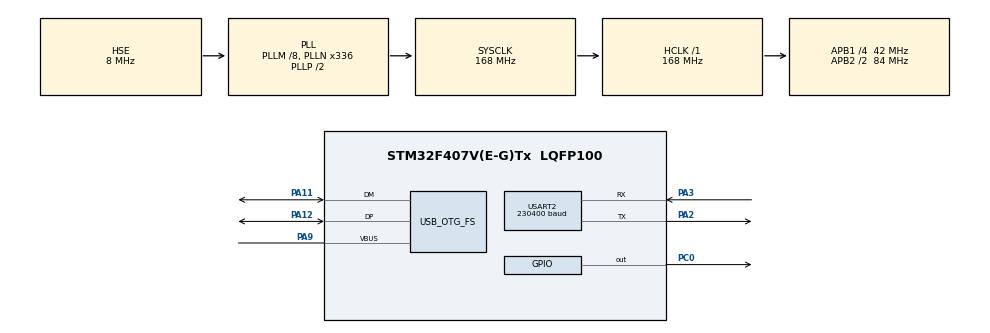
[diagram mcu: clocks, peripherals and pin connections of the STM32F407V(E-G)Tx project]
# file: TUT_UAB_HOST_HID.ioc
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Mcu.Family=STM32F4
PH0-OSC_IN.Signal=RCC_OSC_IN
RCC.CortexFreq_Value=168000000
USB_HOST0.BSP.solution=PC0
USB_HOST.BSP.number=1
PA11.Mode=Host_Only
PC0.Signal=GPIO_Output
RCC.APB1CLKDivider=RCC_HCLK_DIV4
VP_USB_HOST_VS_USB_HOST_HID_FS.Mode=HID_FS
USART2.BaudRate=230400
RCC.SYSCLKSource=RCC_SYSCLKSOURCE_PLLCLK
ProjectManager.StackSize=0x400
USB_HOST0.BSP.STBoard=false
PA3.Mode=Asynchronous
PA9.Mode=Activate_VBUS
PA12.Signal=USB_OTG_FS_DP
ProjectManager.TargetToolchain=STM32CubeIDE
RCC.HCLKFreq_Value=168000000
RCC.APB2TimFreq_Value=168000000
PA9.Signal=USB_OTG_FS_VBUS
USB_HOST0.BSP.ip=GPIO
RCC.LSE_VALUE=32768
RCC.AHBFreq_Value=168000000
PH0-OSC_IN.Mode=HSE-External-Oscillator
RCC.HSE_VALUE=8000000
USB_OTG_FS.phy_itface=HCD_PHY_EMBEDDED
board=STM32F407G-DISC1
RCC.VCOOutputFreq_Value=336000000
USB_HOST.VirtualModeFS=Hid
RCC.APB2Freq_Value=84000000
USB_HOST0.BSP.api=Unknown
USB_HOST.USBH_HandleTypeDef-HID_FS=hUsbHostFS
PH1-OSC_OUT.Signal=RCC_OSC_OUT
USB_HOST0.BSP.i2creg=0
Mcu.Name=STM32F407V(E-G)Tx
PA2.Signal=USART2_TX
PH1-OSC_OUT.Mode=HSE-External-Oscillator
RCC.48MHZClocksFreq_Value=48000000
USB_HOST0.BSP.i2caddr=0
RCC.SYSCLKFreq_VALUE=168000000
Mcu.Package=LQFP100
PA12.Mode=Host_Only
USART2.VirtualMode=VM_ASYNC
NVIC.OTG_FS_IRQn=true\:0\:0\:false\:false\:true\:true\:true
PA11.Signal=USB_OTG_FS_DM
USB_OTG_FS.VirtualMode=Host_Only
ProjectManager.HeapSize=0x200
RCC.HSI_VALUE=16000000
RCC.PLLQ=7
NVIC.PriorityGroup=NVIC_PRIORITYGROUP_0
USB_HOST0.BSP.name=Drive_VBUS_FS
RCC.APB2CLKDivider=RCC_HCLK_DIV2
RCC.PLLM=8
RCC.PLLN=336
RCC.APB1TimFreq_Value=84000000
PA2.Mode=Asynchronous
RCC.APB1Freq_Value=42000000
USB_HOST0.BSP.mode=Output
PA3.Signal=USART2_RX
USB_HOST0.BSP.instance=PC0

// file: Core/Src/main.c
/* USER CODE BEGIN Header */
/**
  ******************************************************************************
  * @file           : main.c
  * @brief          : Main program body
  ******************************************************************************
  * @attention
  *
  * <h2><center>&copy; Copyright (c) 2020 STMicroelectronics.
  * All rights reserved.</center></h2>
  *
  * This software component is licensed by ST under Ultimate Liberty license
  * SLA0044, the "License"; You may not use this file except in compliance with
  * the License. You may obtain a copy of the License at:
  *                             www.st.com/SLA0044
  *
  ******************************************************************************
  */
/* USER CODE END Header */

#include "main.h"
#include "usb_host.h"

/* USER CODE BEGIN Includes */
#include "usbh_hid.h"
#include "stdio.h"
/* USER CODE END Includes */

UART_HandleTypeDef huart2;

void SystemClock_Config(void);
static void MX_GPIO_Init(void);
static void MX_USART2_UART_Init(void);
void MX_USB_HOST_Process(void);

/* USER CODE BEGIN 0 */

char Uart_Buf[100];

void USBH_HID_EventCallback(USBH_HandleTypeDef *phost)
{
	if (USBH_HID_GetDeviceType(phost) == HID_MOUSE)
	{
		HID_MOUSE_Info_TypeDef *Mouse_Info;
		Mouse_Info = USBH_HID_GetMouseInfo(phost);
		int X_VAL = Mouse_Info->x;
		int Y_VAL = Mouse_Info->y;
		if (X_VAL > 127) X_VAL -= 255;
		if (Y_VAL > 127) Y_VAL -= 255;

		int len = sprintf (Uart_Buf, "X=%d, Y=%d, Button1=%d, Button2=%d, Button3=%d\n", X_VAL, Y_VAL, \
				                                Mouse_Info->buttons[0],Mouse_Info->buttons[1], Mouse_Info->buttons[2]);
		HAL_UART_Transmit(&huart2, (uint8_t *)Uart_Buf, len, 1000);
	}

	if (USBH_HID_GetDeviceType(phost) == HID_KEYBOARD)
	{
		HID_KEYBD_Info_TypeDef *Keyboard_Info;
		Keyboard_Info = USBH_HID_GetKeybdInfo(phost);
		char key = USBH_HID_GetASCIICode (Keyboard_Info);

		int len = sprintf (Uart_Buf, "Key Pressed = %c\n", key);
		HAL_UART_Transmit(&huart2, (uint8_t *)Uart_Buf, len, 1000);
	}
}

/* USER CODE END 0 */

int main(void)
{

  /* MCU Configuration--------------------------------------------------------*/

  /* Reset of all peripherals, Initializes the Flash interface and the Systick. */
  HAL_Init();

  /* Configure the system clock */
  SystemClock_Config();

  /* Initialize all configured peripherals */
  MX_GPIO_Init();
  MX_USB_HOST_Init();
  MX_USART2_UART_Init();

  /* Infinite loop */
  /* USER CODE BEGIN WHILE */
    //char Test_Uart_Buf[100];
    // len;
    while (1)
    {
    /* USER CODE END WHILE */
    MX_USB_HOST_Process();

  }
}

void SystemClock_Config(void)
{
  RCC_OscInitTypeDef RCC_OscInitStruct = {0};
  RCC_ClkInitTypeDef RCC_ClkInitStruct = {0};

  /** Configure the main internal regulator output voltage
  */
  __HAL_RCC_PWR_CLK_ENABLE();
  __HAL_PWR_VOLTAGESCALING_CONFIG(PWR_REGULATOR_VOLTAGE_SCALE1);
  /** Initializes the CPU, AHB and APB busses clocks
  */
  RCC_OscInitStruct.OscillatorType = RCC_OSCILLATORTYPE_HSE;
  RCC_OscInitStruct.HSEState = RCC_HSE_ON;
  RCC_OscInitStruct.PLL.PLLState = RCC_PLL_ON;
  RCC_OscInitStruct.PLL.PLLSource = RCC_PLLSOURCE_HSE;
  RCC_OscInitStruct.PLL.PLLM = 8;
  RCC_OscInitStruct.PLL.PLLN = 336;
  RCC_OscInitStruct.PLL.PLLP = RCC_PLLP_DIV2;
  RCC_OscInitStruct.PLL.PLLQ = 7;
  if (HAL_RCC_OscConfig(&RCC_OscInitStruct) != HAL_OK)
  {
    Error_Handler();
  }
  /** Initializes the CPU, AHB and APB busses clocks
  */
  RCC_ClkInitStruct.ClockType = RCC_CLOCKTYPE_HCLK|RCC_CLOCKTYPE_SYSCLK
                              |RCC_CLOCKTYPE_PCLK1|RCC_CLOCKTYPE_PCLK2;
  RCC_ClkInitStruct.SYSCLKSource = RCC_SYSCLKSOURCE_PLLCLK;
  RCC_ClkInitStruct.AHBCLKDivider = RCC_SYSCLK_DIV1;
  RCC_ClkInitStruct.APB1CLKDivider = RCC_HCLK_DIV4;
  RCC_ClkInitStruct.APB2CLKDivider = RCC_HCLK_DIV2;

  if (HAL_RCC_ClockConfig(&RCC_ClkInitStruct, FLASH_LATENCY_5) != HAL_OK)
  {
    Error_Handler();
  }
}

static void MX_USART2_UART_Init(void)
{

  huart2.Instance = USART2;
  huart2.Init.BaudRate = 230400;
  huart2.Init.WordLength = UART_WORDLENGTH_8B;
  huart2.Init.StopBits = UART_STOPBITS_1;
  huart2.Init.Parity = UART_PARITY_NONE;
  huart2.Init.Mode = UART_MODE_TX_RX;
  huart2.Init.HwFlowCtl = UART_HWCONTROL_NONE;
  huart2.Init.OverSampling = UART_OVERSAMPLING_16;
  if (HAL_UART_Init(&huart2) != HAL_OK)
  {
    Error_Handler();
  }

}

static void MX_GPIO_Init(void)
{
  GPIO_InitTypeDef GPIO_InitStruct = {0};

  /* GPIO Ports Clock Enable */
  __HAL_RCC_GPIOH_CLK_ENABLE();
  __HAL_RCC_GPIOC_CLK_ENABLE();
  __HAL_RCC_GPIOA_CLK_ENABLE();

  /*Configure GPIO pin Output Level */
  HAL_GPIO_WritePin(GPIOC, GPIO_PIN_0, GPIO_PIN_RESET);

  /*Configure GPIO pin : PC0 */
  GPIO_InitStruct.Pin = GPIO_PIN_0;
  GPIO_InitStruct.Mode = GPIO_MODE_OUTPUT_PP;
  GPIO_InitStruct.Pull = GPIO_NOPULL;
  GPIO_InitStruct.Speed = GPIO_SPEED_FREQ_LOW;
  HAL_GPIO_Init(GPIOC, &GPIO_InitStruct);

}

void Error_Handler(void)
{
}

/************************ (C) COPYRIGHT STMicroelectronics *****END OF FILE****/
